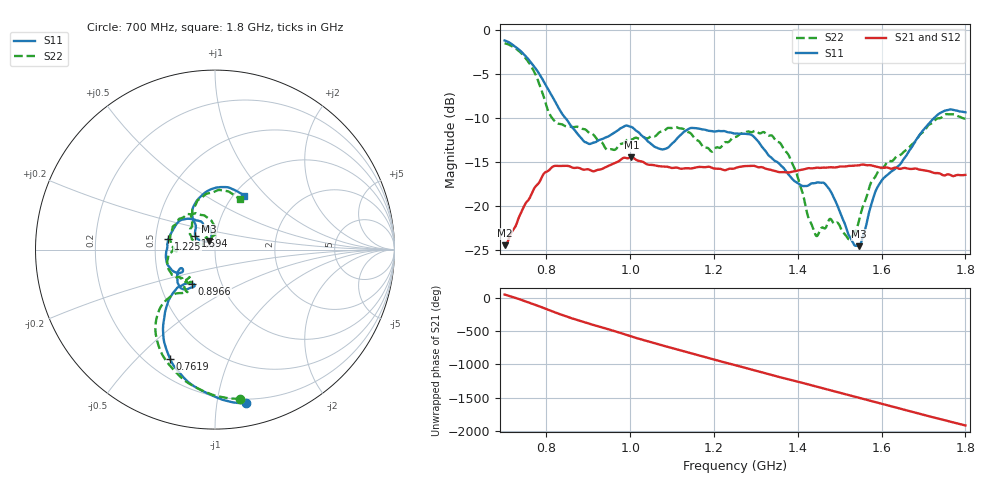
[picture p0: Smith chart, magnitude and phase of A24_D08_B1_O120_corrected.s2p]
! Created with skrf 1.9.0 (http://scikit-rf.org).
# Hz S RI R 50.0
!freq ReS11 ImS11 ReS21 ImS21 ReS12 ImS12 ReS22 ImS22
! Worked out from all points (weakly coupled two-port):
!   1601 points, 700 MHz to 1.8 GHz, reference 50 ohm
!   highest |S21| = -14.47 dB at 1.002 GHz (marker M1); lowest = -24.5 dB at 700 MHz (marker M2)
!   lowest |S11| = -24.6 dB at 1.546 GHz (marker M3), VSWR 1.13, Z = 46.4 + j4.45 ohm
!   |S11| at or under -10 dB: 845.2 MHz to 1.725 GHz (879.8 MHz wide, 68.5 % of centre)
!   |S22| runs from -23.8 to -1.5 dB; largest |S21 - S12| = 0.0037
!   S11 on the Smith chart (normalised r, x): 700 MHz: 0.17, -1.21; 761.9 MHz: 0.29, -0.63; 896.6 MHz: 0.72, -0.29; 1.225 GHz: 0.58, +0.07; 1.594 GHz: 0.80, +0.12; 1.8 GHz: 1.12, +0.76
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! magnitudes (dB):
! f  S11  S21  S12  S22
! 700 MHz  -1.2  -24.5  -24.2  -1.5
! 761.9 MHz  -3.6  -18.9  -18.8  -4.0
! 816.2 MHz  -7.7  -15.5  -15.6  -10.2
! 883.6 MHz  -12.3  -15.8  -15.7  -11.2
! 896.6 MHz  -12.8  -15.8  -15.9  -11.4
! 946.8 MHz  -12.1  -15.5  -15.5  -13.6
! 1.002 GHz  -11.0  -14.5  -14.6  -12.4
! 1.067 GHz  -13.4  -15.5  -15.4  -11.7
! 1.144 GHz  -11.1  -15.7  -15.7  -11.7
! 1.194 GHz  -11.5  -15.6  -15.6  -13.8
! 1.225 GHz  -11.5  -15.9  -15.9  -12.8
! 1.25 GHz  -11.8  -15.7  -15.6  -12.2
! 1.359 GHz  -15.4  -16.2  -16.1  -12.9
! 1.394 GHz  -17.2  -16.0  -16.0  -15.8
! 1.434 GHz  -17.4  -15.7  -15.7  -22.2
! 1.473 GHz  -18.0  -15.6  -15.6  -21.7
! 1.523 GHz  -23.4  -15.4  -15.4  -23.8
! 1.546 GHz  -24.6  -15.4  -15.3  -21.6
! 1.594 GHz  -17.6  -15.6  -15.6  -15.9
! 1.617 GHz  -16.3  -15.7  -15.6  -14.9
! 1.733 GHz  -9.6  -16.3  -16.3  -10.0
! 1.8 GHz  -9.3  -16.5  -16.5  -10.1
